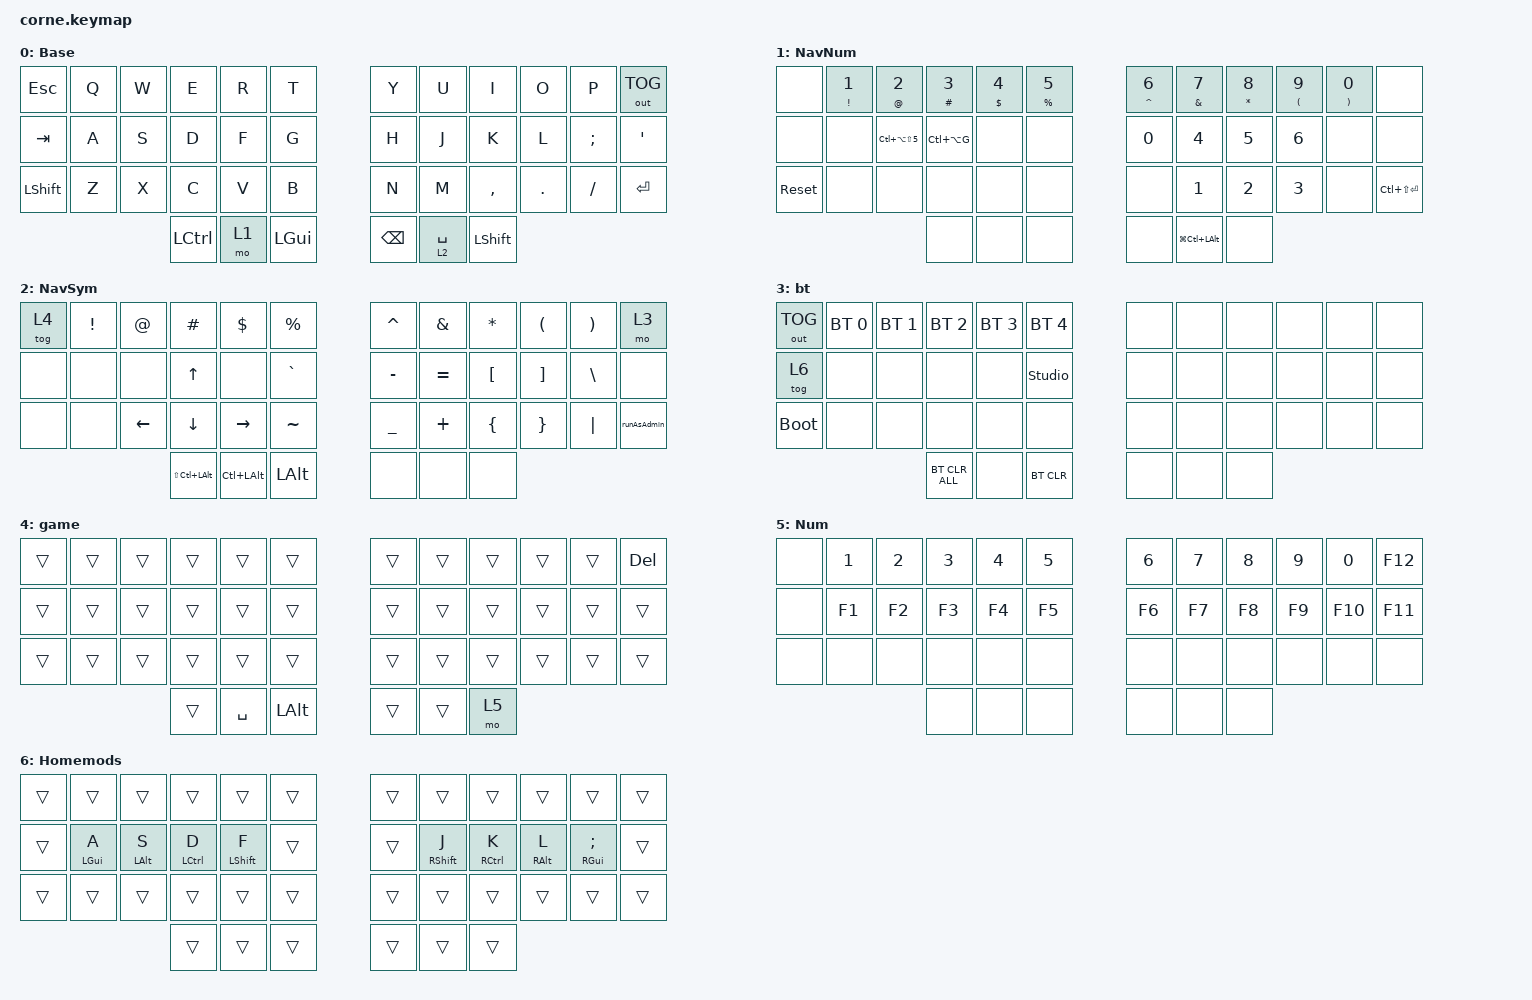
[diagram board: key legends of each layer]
#include <behaviors.dtsi>
#include <dt-bindings/zmk/bt.h>
#include <dt-bindings/zmk/keys.h>
#include <dt-bindings/zmk/outputs.h>

#define DEF 0
#define NAV 1
#define SYM 2
#define ADJ 3
#define EXTRA 4

/ {
    behaviors {
        hm: homerow_mods {
            compatible = "zmk,behavior-hold-tap";
            label = "HOMEROW_MODS";
            #binding-cells = <2>;
            tapping-term-ms = <200>;
            quick_tap_ms = <0>;
            flavor = "tap-preferred";
            bindings = <&kp>, <&kp>;

            quick-tap-ms = <180>;
            global-quick-tap;
        };

        para: para {
            compatible = "zmk,behavior-tap-dance";
            label = "PARA";
            #binding-cells = <0>;
            bindings = <&kp LEFT_PARENTHESIS>, <&kp RIGHT_PARENTHESIS>;
        };

        caps: caps {
            compatible = "zmk,behavior-caps-word";
            label = "CAPS";
            #binding-cells = <0>;
            continue-list = <MINUS BACKSPACE>;
        };

        paraless: paraless {
            compatible = "zmk,behavior-mod-morph";
            label = "PARALESS";
            bindings = <&kp LEFT_PARENTHESIS>, <&kp LESS_THAN>;

            #binding-cells = <0>;
            mods = <(MOD_LSFT)>;
        };

        paragreat: paragreat {
            compatible = "zmk,behavior-mod-morph";
            label = "PARAGREAT";
            bindings = <&kp RIGHT_PARENTHESIS>, <&kp GREATER_THAN>;

            #binding-cells = <0>;
            mods = <(MOD_LSFT)>;
        };

        runAsAdmin: runAsAdmin {
            compatible = "zmk,behavior-mod-morph";
            label = "RUNASADMIN";
            bindings = <&kp ENTER>, <&kp LS(LC(ENTER))>;

            #binding-cells = <0>;
            mods = <(MOD_LCTL|MOD_LSFT)>;
        };

        togSynergy: togSynergy {
            compatible = "zmk,behavior-mod-morph";
            label = "TOGSYNERGY";
            bindings = <&kp NUMBER_5>, <&kp LS(LA(LC(NUMBER_5)))>;

            #binding-cells = <0>;
            mods = <(MOD_LCTL|MOD_LALT|MOD_LSFT)>;
        };

        test: test {
            compatible = "zmk,behavior-mod-morph";
            label = "TEST";
            bindings = <&kp LC(LA(LS(N5)))>, <&none>;

            #binding-cells = <0>;
            mods = <(MOD_LCTL|MOD_LSFT|MOD_LALT)>;
        };

        divvy: divvy {
            compatible = "zmk,behavior-mod-morph";
            label = "DIVVY";
            bindings = <&kp G>, <&kp LC(LA(G))>;

            #binding-cells = <0>;
            mods = <(MOD_LCTL|MOD_LALT)>;
        };
    };

    macros {
        browsertab: browsertab {
            compatible = "zmk,behavior-macro";
            #binding-cells = <0>;
            bindings =
                <&macro_press>,
                <&kp LCTRL>,
                <&macro_tap>,
                <&kp TAB>,
                <&macro_release>,
                <&kp LCTRL>;
        };
    };

    combos {
        compatible = "zmk,combos";

        escape {
            bindings = <&kp ESCAPE>;
            key-positions = <13 29>;
        };

        delete {
            bindings = <&kp DELETE>;
            key-positions = <15 21>;
        };

        perc {
            bindings = <&kp PERCENT>;
            key-positions = <5 17>;
        };

        equal {
            bindings = <&kp EQUAL>;
            key-positions = <28 16>;
        };

        dollar {
            bindings = <&kp DOLLAR>;
            key-positions = <4 16>;
        };

        pound {
            bindings = <&kp POUND>;
            key-positions = <3 15>;
        };

        at {
            bindings = <&kp AT>;
            key-positions = <2 14>;
        };

        backslash {
            bindings = <&kp BACKSLASH>;
            key-positions = <26 14>;
        };

        paste {
            bindings = <&kp LC(V)>;
            key-positions = <28 27>;
        };

        copy {
            bindings = <&kp LC(C)>;
            key-positions = <29 28>;
        };

        star {
            bindings = <&kp STAR>;
            key-positions = <8 20>;
        };

        slash {
            bindings = <&kp SLASH>;
            key-positions = <32 20>;
        };

        plus {
            bindings = <&kp PLUS>;
            key-positions = <7 19>;
        };

        minus {
            bindings = <&kp KP_MINUS>;
            key-positions = <31 19>;
        };

        underscore {
            bindings = <&kp UNDER>;
            key-positions = <30 18>;
        };

        leftbrack {
            bindings = <&kp LEFT_BRACKET>;
            key-positions = <31 32>;
        };

        rightbrack {
            bindings = <&kp RIGHT_BRACKET>;
            key-positions = <33 32>;
        };

        para-less {
            bindings = <&paraless>;
            key-positions = <20 19>;
        };

        para-great {
            bindings = <&paragreat>;
            key-positions = <20 21>;
        };

        copy_mac {
            bindings = <&kp LG(C)>;
            key-positions = <37 38>;
        };

        paste_mac {
            bindings = <&kp LG(V)>;
            key-positions = <36 37>;
        };
    };

    //

    keymap {
        compatible = "zmk,keymap";

        DEF {
            display-name = "Base";

            // -----------------------------------------------------------------------------------------
            // |  Q  |  W  |  E  |  R  |  T  |   |  Y  |  U   |  I  |  O  |  P  |
            // |  A  |  S  |  D  |  F  |  G  |   |  H  |  J   |  K  |  L  |  ;  |
            // |  Z  |  X  |  C  |  V  |  B  |   |  N  |  M   |  ,  |  .  |  /  |
            // | GUI | CTRL | SHFT | LWR | SPC |   | ENT | RSE  | BKSP | ALT | ESC |

            bindings = <
&kp ESC         &kp Q  &kp W  &kp E      &kp R  &kp T           &kp Y          &kp U        &kp I           &kp O    &kp P     &out OUT_TOG
&kp TAB         &kp A  &kp S  &kp D      &kp F  &kp G           &kp H          &kp J        &kp K           &kp L    &kp SEMI  &kp SQT
&kp LEFT_SHIFT  &kp Z  &kp X  &kp C      &kp V  &kp B           &kp N          &kp M        &kp COMMA       &kp DOT  &kp FSLH  &kp RETURN
                              &kp LCTRL  &mo 1  &kp LEFT_GUI    &kp BACKSPACE  &lt 2 SPACE  &kp LEFT_SHIFT
            >;
        };

        NAV {
            display-name = "NavNum";

            // -----------------------------------------------------------------------------------------
            // |  TAB |  1  |  2  |  3  |  4  |  5  |   |  6  |  7  |  8  |  9  |  0  | BKSP |
            // | BTCLR| BT1 | BT2 | BT3 | BT4 | BT5 |   | LFT | DWN |  UP | RGT |     |      |
            // | SHFT |     |     |     |     |     |   |     |     |     |     |     |      |
            // | GUI | CTRL | SHFT | LWR | SPC |   | ENT | RSE  | BKSP | ALT | ESC |

            bindings = <
&none       &mt EXCLAMATION N1  &mt AT_SIGN N2      &mt HASH N3    &mt DOLLAR N4  &mt PERCENT N5    &mt CARET N6  &mt AMPERSAND N7      &mt ASTERISK N8  &mt LEFT_PARENTHESIS N9  &mt RIGHT_PARENTHESIS N0  &none
&none       &none               &kp LC(LA(LS(N5)))  &kp LC(LA(G))  &none          &none             &kp N0        &kp N4                &kp N5           &kp N6                   &none                     &none
&sys_reset  &none               &none               &none          &none          &none             &none         &kp N1                &kp N2           &kp N3                   &none                     &kp LC(LS(ENTER))
                                                    &none          &none          &none             &none         &kp LG(LC(LEFT_ALT))  &none
            >;
        };

        SYM {
            display-name = "NavSym";

            // -----------------------------------------------------------------------------------------
            // |  TAB |  !  |  @  |  #  |  $  |  %  |   |  ^  |  &  |  *  |  (  |  )  | BKSP |
            // | CTRL |     |     |     |     |     |   |  -  |  =  |  [  |  ]  |  \  |  `   |
            // | SHFT |     |     |     |     |     |   |  _  |  +  |  {  |  }  | "|" |  ~   |
            //                    | GUI |     | SPC |   | ENT |     | ALT |

            bindings = <
&tog 4  &kp EXCL  &kp AT          &kp HASH              &kp DLLR          &kp PRCNT       &kp CARET  &kp AMPS   &kp ASTRK  &kp LEFT_PARENTHESIS  &kp RPAR  &mo 3
&none   &none     &none           &kp UP_ARROW          &none             &kp GRAVE       &kp MINUS  &kp EQUAL  &kp LBKT   &kp RBKT              &kp BSLH  &none
&none   &none     &kp LEFT_ARROW  &kp DOWN_ARROW        &kp RIGHT_ARROW   &kp TILDE       &kp UNDER  &kp PLUS   &kp LBRC   &kp RBRC              &kp PIPE  &runAsAdmin
                                  &kp LS(LC(LEFT_ALT))  &kp LC(LEFT_ALT)  &kp LEFT_ALT    &none      &none      &none
            >;
        };

        Settings {
            display-name = "bt";
            bindings = <
&out OUT_TOG  &bt BT_SEL 0  &bt BT_SEL 1  &bt BT_SEL 2    &bt BT_SEL 3  &bt BT_SEL 4      &none  &none  &none  &none  &none  &none
&tog 6        &none         &none         &none           &none         &studio_unlock    &none  &none  &none  &none  &none  &none
&bootloader   &none         &none         &none           &none         &none             &none  &none  &none  &none  &none  &none
                                          &bt BT_CLR_ALL  &none         &bt BT_CLR        &none  &none  &none
            >;
        };

        GAME {
            display-name = "game";
            bindings = <
&trans  &trans  &trans  &trans  &trans     &trans          &trans  &trans  &trans  &trans  &trans  &kp DEL
&trans  &trans  &trans  &trans  &trans     &trans          &trans  &trans  &trans  &trans  &trans  &trans
&trans  &trans  &trans  &trans  &trans     &trans          &trans  &trans  &trans  &trans  &trans  &trans
                        &trans  &kp SPACE  &kp LEFT_ALT    &trans  &trans  &mo 5
            >;
        };

        Num_TR {
            bindings = <
&none  &kp N1  &kp N2  &kp N3  &kp N4  &kp N5    &kp N6  &kp N7  &kp N8  &kp N9  &kp N0   &kp F12
&none  &kp F1  &kp F2  &kp F3  &kp F4  &kp F5    &kp F6  &kp F7  &kp F8  &kp F9  &kp F10  &kp F11
&none  &none   &none   &none   &none   &none     &none   &none   &none   &none   &none    &none
                       &none   &none   &none     &none   &none   &none
            >;

            label = "Num";
        };

        layer_6 {
            bindings = <
&trans  &trans          &trans          &trans              &trans            &trans    &trans  &trans             &trans               &trans           &trans                   &trans
&trans  &hm LEFT_GUI A  &hm LEFT_ALT S  &hm LEFT_CONTROL D  &hm LEFT_SHIFT F  &trans    &trans  &hm RIGHT_SHIFT J  &hm RIGHT_CONTROL K  &hm RIGHT_ALT L  &hm RIGHT_GUI SEMICOLON  &trans
&trans  &trans          &trans          &trans              &trans            &trans    &trans  &trans             &trans               &trans           &trans                   &trans
                                        &trans              &trans            &trans    &trans  &trans             &trans
            >;

            label = "Homemods";
        };
    };

    conditional_layers { compatible = "zmk,conditional-layers"; };
};
